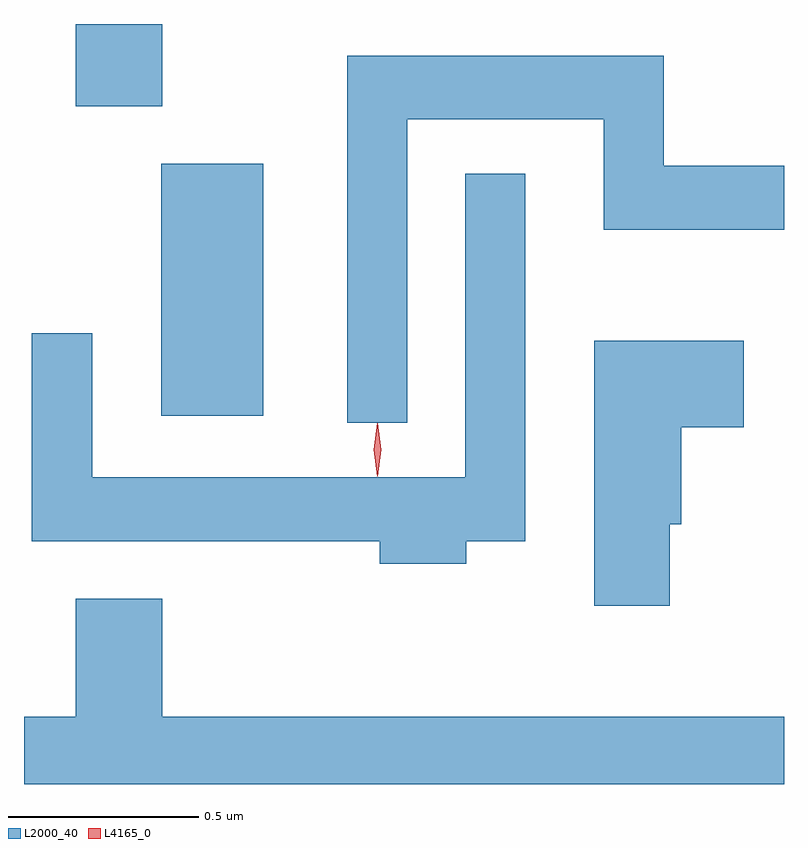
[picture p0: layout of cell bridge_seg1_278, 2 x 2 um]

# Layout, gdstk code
import gdstk
lib = gdstk.Library(unit=1e-6, precision=1e-09)
def R(c, l, rs):  # rectangles x0, y0, x1, y1
    for r in rs: c.add(gdstk.rectangle(r[:2], r[2:], *l))
def P(c, l, *ps):  # polygons
    for p in ps: c.add(gdstk.Polygon(p, *l))
L2000_40 = (2000, 40)
L4165_0 = (4165, 0)

bridge_seg1_278 = lib.new_cell('bridge_seg1_278')
R(bridge_seg1_278, L2000_40, [(902.356,896.196,902.624,896.859), (902.131,897.011,902.359,897.227)])
P(bridge_seg1_278, L2000_40, [(903.004,896.976),(903.521,896.976),(903.521,896.686),(903.995,896.686),(903.995,896.854),(903.679,896.854),(903.679,897.144),(902.846,897.144),(902.846,896.178),(903.004,896.178)],
  [(903.159,895.866),(903.314,895.866),(903.314,896.833),(903.156,896.833),(903.156,896.034),(902.174,896.034),(902.174,896.413),(902.016,896.413),(902.016,895.866),(902.931,895.866),(902.931,895.806),(903.159,895.806)],
  [(903.694,895.911),(903.724,895.911),(903.724,896.166),(903.889,896.166),(903.889,896.394),(903.496,896.394),(903.496,895.696),(903.694,895.696)],
  [(903.995,895.404),(902.359,895.404),(902.359,895.714),(902.131,895.714),(902.131,895.404),(901.995,895.404),(901.995,895.227),(903.995,895.227)])
P(bridge_seg1_278, L4165_0, [(902.925,896.039),(902.924,896.04),(902.915,896.106),(902.924,896.172),(902.925,896.173),(902.925,896.172),(902.935,896.106),(902.925,896.04)],
  [(902.924,896.037),(902.915,896.106),(902.924,896.176),(902.925,896.176),(902.926,896.176),(902.935,896.106),(902.926,896.037),(902.925,896.037)])

lib.write_gds('bridge_seg1_278.gds')
